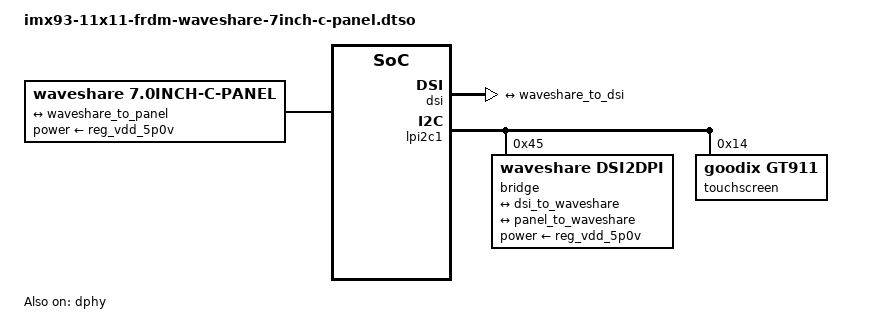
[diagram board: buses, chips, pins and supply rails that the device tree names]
// SPDX-License-Identifier: (GPL-2.0+ OR MIT)
/*
 * Copyright 2025 NXP
 */

/dts-v1/;
/plugin/;

&{/} {
	panel {
		compatible = "waveshare,7.0inch-c-panel", "panel-dpi";
		power-supply = <&reg_vdd_5p0v>;

		port {
			panel_to_waveshare: endpoint {
				remote-endpoint = <&waveshare_to_panel>;
			};
		};

		panel-timing {
			clock-frequency = <50000000>;
			hactive = <1024>;
			vactive = <600>;
			hfront-porch = <100>;
			hback-porch = <100>;
			hsync-len = <100>;
			vback-porch = <10>;
			vfront-porch = <10>;
			vsync-len = <10>;

			hsync-active = <0>;
			vsync-active = <0>;
			de-active = <1>;
			pixelclk-active = <1>;
		};
	};
};

&dphy {
	status = "okay";
};

&dsi {
	status = "okay";

	ports {
		#address-cells = <1>;
		#size-cells = <0>;

		port@1 {
			reg = <1>;

			dsi_to_waveshare: endpoint {
				remote-endpoint = <&waveshare_to_dsi>;
			};
		};
	};
};

&lcdif {
	assigned-clock-rates = <400000000>, <50000000>, <400000000>, <133333333>;
};

&ldb {
	status = "disabled";
};

&ldb_phy {
	status = "disabled";
};

&lpi2c1 {
	#address-cells = <1>;
	#size-cells = <0>;

	bridge@45 {
		compatible = "waveshare,dsi2dpi";
		reg = <0x45>;
		power-supply = <&reg_vdd_5p0v>;

		ports {
			#address-cells = <1>;
			#size-cells = <0>;

			port@0 {
				reg = <0>;

				waveshare_to_dsi: endpoint {
					data-lanes = <1 2>;
					remote-endpoint = <&dsi_to_waveshare>;
				};
			};

			port@1 {
				reg = <1>;

				waveshare_to_panel: endpoint {
					remote-endpoint = <&panel_to_waveshare>;
				};
			};
		};
	};

	touchscreen@14 {
		compatible = "goodix,gt911";
		reg = <0x14>;
		touchscreen-size-x = <800>;
		touchscreen-size-y = <480>;
	};
};

&lvds_bridge {
	status = "disabled";
};
